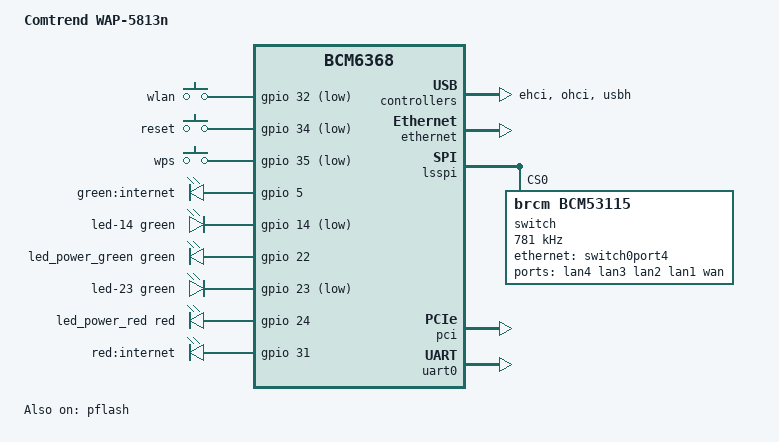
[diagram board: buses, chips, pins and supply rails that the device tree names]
// SPDX-License-Identifier: GPL-2.0-or-later

#include "bcm6368.dtsi"

/ {
	model = "Comtrend WAP-5813n";
	compatible = "comtrend,wap-5813n", "brcm,bcm6369", "brcm,bcm6368";

	aliases {
		led-boot = &led_power_green;
		led-failsafe = &led_power_red;
		led-running = &led_power_green;
		led-upgrade = &led_power_green;
	};

	keys {
		compatible = "gpio-keys-polled";
		poll-interval = <100>;

		wlan {
			label = "wlan";
			gpios = <&gpio 32 GPIO_ACTIVE_LOW>;
			linux,code = <KEY_WLAN>;
			debounce-interval = <60>;
		};

		reset {
			label = "reset";
			gpios = <&gpio 34 GPIO_ACTIVE_LOW>;
			linux,code = <KEY_RESTART>;
			debounce-interval = <60>;
		};

		wps {
			label = "wps";
			gpios = <&gpio 35 GPIO_ACTIVE_LOW>;
			linux,code = <KEY_WPS_BUTTON>;
			debounce-interval = <60>;
		};
	};

	leds {
		compatible = "gpio-leds";

		led-5 {
			label = "green:internet";
			gpios = <&gpio 5 GPIO_ACTIVE_HIGH>;
		};

		led-14 {
			function = LED_FUNCTION_USB;
			color = <LED_COLOR_ID_GREEN>;
			gpios = <&gpio 14 GPIO_ACTIVE_LOW>;
		};

		led_power_green: led-22 {
			function = LED_FUNCTION_POWER;
			color = <LED_COLOR_ID_GREEN>;
			gpios = <&gpio 22 GPIO_ACTIVE_HIGH>;
		};

		led-23 {
			function = LED_FUNCTION_WPS;
			color = <LED_COLOR_ID_GREEN>;
			gpios = <&gpio 23 GPIO_ACTIVE_LOW>;
		};

		led_power_red: led-24 {
			function = LED_FUNCTION_POWER;
			color = <LED_COLOR_ID_RED>;
			gpios = <&gpio 24 GPIO_ACTIVE_HIGH>;
			panic-indicator;
		};

		led-31 {
			label = "red:internet";
			gpios = <&gpio 31 GPIO_ACTIVE_HIGH>;
		};
	};

	bcm4322-sprom {
		compatible = "brcm,ssb-sprom";

		pci-bus = <0>;
		pci-dev = <1>;

		nvmem-cells = <&macaddr_cfe_6a0 1>;
		nvmem-cell-names = "mac-address";

		brcm,sprom = "brcm/bcm4322-sprom.bin";
		brcm,sprom-fixups = <97 0xfeed>,
				    <98 0x15d1>,
				    <99 0xfb0d>,
				    <113 0xfef7>,
				    <114 0x15f7>,
				    <115 0xfb1a>;
	};
};

&ehci {
	status = "okay";
};

&ethernet {
	status = "okay";

	nvmem-cells = <&macaddr_cfe_6a0 0>;
	nvmem-cell-names = "mac-address";
};

&lsspi {
	status = "okay";

	switch@0 {
		compatible = "brcm,bcm53115";
		reg = <0>;
		spi-max-frequency = <781000>;
		dsa,member = <1 0>;

		ports {
			#address-cells = <1>;
			#size-cells = <0>;

			port@0 {
				reg = <0>;
				label = "lan4";
			};

			port@1 {
				reg = <1>;
				label = "lan3";
			};

			port@2 {
				reg = <2>;
				label = "lan2";
			};

			port@3 {
				reg = <3>;
				label = "lan1";
			};

			port@4 {
				reg = <4>;
				label = "wan";
			};

			port@5 {
				reg = <5>;

				phy-mode = "rgmii";
				ethernet = <&switch0port4>;

				fixed-link {
					speed = <1000>;
					full-duplex;
				};
			};
		};
	};
};

&pflash {
	status = "okay";

	partitions {
		compatible = "fixed-partitions";
		#address-cells = <1>;
		#size-cells = <1>;

		partition@0 {
			label = "CFE";
			reg = <0x000000 0x010000>;
			read-only;

			nvmem-layout {
				compatible = "fixed-layout";
				#address-cells = <1>;
				#size-cells = <1>;

				macaddr_cfe_6a0: macaddr@6a0 {
					compatible = "mac-base";
					reg = <0x6a0 0x6>;
					#nvmem-cell-cells = <1>;
				};
			};
		};

		partition@20000 {
			label = "firmware";
			reg = <0x010000 0x7e0000>;
			compatible = "brcm,bcm963xx-imagetag";
		};

		partition@fe0000 {
			label = "nvram";
			reg = <0x7f0000 0x010000>;
		};
	};
};

&ohci {
	status = "okay";
};

&pci {
	status = "okay";
};

&switch0 {
	dsa,member = <0 0>;

	ports {
		switch0port4: port@4 {
			reg = <4>;
			label = "extsw";

			phy-mode = "rgmii";

			fixed-link {
				speed = <1000>;
				full-duplex;
			};
		};
	};
};

&uart0 {
	status = "okay";
};

&usbh {
	status = "okay";
};
